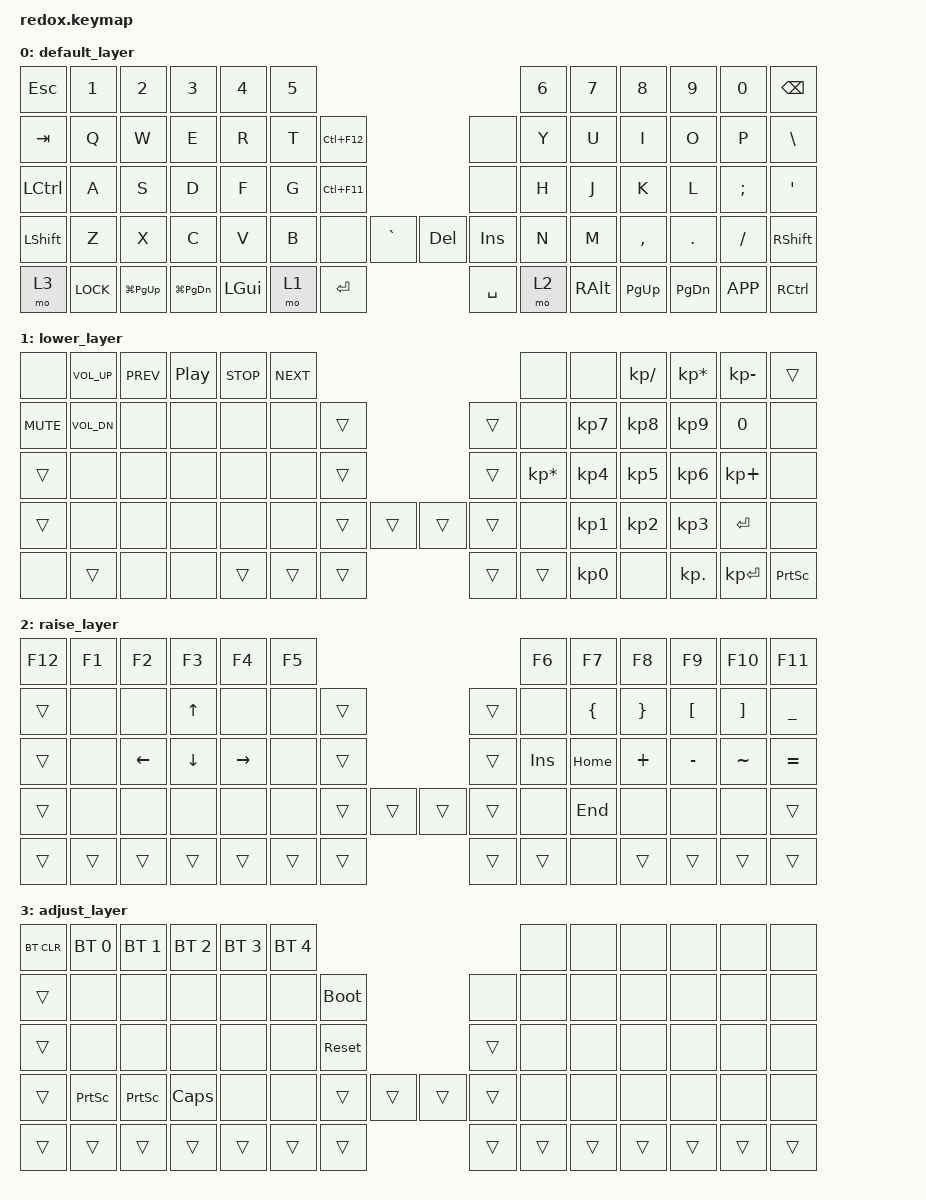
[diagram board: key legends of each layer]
/*
 * Copyright (c) 2021 The ZMK Contributors
 *
 * SPDX-License-Identifier: MIT
 */

#include <behaviors.dtsi>
#include <dt-bindings/zmk/keys.h>
#include <dt-bindings/zmk/bt.h>
#include <dt-bindings/zmk/ext_power.h>
#include <dt-bindings/zmk/outputs.h>

#define DSKL LG(PG_UP) // Left desktop
#define DSKR LG(PG_DN) // Right desktop
#define CBP LC(F11) //Clipboard previous
#define CBN LC(F12) //Clipboard next
#define K_MLT KP_MULTIPLY
#define K_PLS KP_PLUS
#define K_MNS KP_MINUS
#define K_SLS KP_SLASH
#define K_AST KP_ASTERISK
#define K_ENT KP_ENTER
#define K_MUT K_MUTE
#define K_DOT KP_DOT
#define VOLD C_VOL_DN
#define VOLU C_VOL_UP
#define MSTP C_STOP
#define MNXT C_NEXT
#define MPRV C_PREV
#define BT_C BT_CLR
#define BT_0 BT_SEL 0
#define BT_1 BT_SEL 1
#define BT_2 BT_SEL 2
#define BT_3 BT_SEL 3
#define BT_4 BT_SEL 4
#define OT OUT_TOG
#define BOOT &bootloader
#define LOCK K_LOCK

/ {
    keymap {
        compatible =  "zmk,keymap" ;

        default_layer {
            bindings = <
//┌─────────┬─────────┬─────────┬─────────┬─────────┬─────────┐                                            ┌─────────┬─────────┬─────────┬─────────┬─────────┬─────────┐
   &kp ESC   &kp N1    &kp N2    &kp N3    &kp N4    &kp N5                                                 &kp N6    &kp N7    &kp N8    &kp N9    &kp N0    &kp BSPC
//├─────────┼─────────┼─────────┼─────────┼─────────┼─────────┼─────────┐                        ┌─────────┼─────────┼─────────┼─────────┼─────────┼─────────┼─────────┤
   &kp TAB   &kp Q     &kp W     &kp E     &kp R     &kp T     &kp CBN                            &none     &kp Y     &kp U     &kp I     &kp O     &kp P     &kp BSLH
//├─────────┼─────────┼─────────┼─────────┼─────────┼─────────┼─────────┤                        ├─────────┼─────────┼─────────┼─────────┼─────────┼─────────┼─────────┤
   &kp LCTRL &kp A     &kp S     &kp D     &kp F     &kp G     &kp CBP                            &none     &kp H     &kp J     &kp K     &kp L     &kp SEMI  &kp SQT
//├─────────┼─────────┼─────────┼─────────┼─────────┼─────────┼─────────┼─────────┐    ┌─────────┼─────────┼─────────┼─────────┼─────────┼─────────┼─────────┼─────────┤
   &kp LSHFT &kp Z     &kp X     &kp C     &kp V     &kp B     &none     &kp GRAVE      &kp DEL   &kp INS   &kp N     &kp M     &kp COMMA &kp DOT   &kp FSLH  &kp RSHFT
//├─────────┼─────────┼─────────┼─────────┼─────────┼─────────┼─────────┼─────────┤    ├─────────┼─────────┼─────────┼─────────┼─────────┼─────────┼─────────┼─────────┤
   &mo 3     &kp LOCK  &kp DSKL  &kp DSKR       &kp LGUI       &mo 1     &kp RET        &kp SPACE &mo 2         &kp RALT        &kp PG_UP &kp PG_DN &kp K_APP &kp RCTRL
//└─────────┴─────────┴─────────┴─────────┘    └─────────┘    └─────────┴─────────┘    └─────────┴─────────┘   └─────────┘     └─────────┴─────────┴─────────┴─────────┘
            >;

        };
        
        lower_layer {
            bindings = <
//┌─────────┬─────────┬─────────┬─────────┬─────────┬─────────┐                                            ┌─────────┬─────────┬─────────┬─────────┬─────────┬─────────┐
   &none     &kp VOLU  &kp MPRV  &kp C_PP  &kp MSTP  &kp MNXT                                               &none     &none     &kp K_SLS &kp K_AST &kp K_MNS &trans
//├─────────┼─────────┼─────────┼─────────┼─────────┼─────────┼─────────┐                        ┌─────────┼─────────┼─────────┼─────────┼─────────┼─────────┼─────────┤
   &kp K_MUT &kp VOLD  &none     &none     &none     &none     &trans                             &trans    &none     &kp KP_N7 &kp KP_N8 &kp KP_N9 &kp N0    &none
//├─────────┼─────────┼─────────┼─────────┼─────────┼─────────┼─────────┤                        ├─────────┼─────────┼─────────┼─────────┼─────────┼─────────┼─────────┤
   &trans    &none     &none     &none     &none     &none     &trans                             &trans    &kp K_MLT &kp KP_N4 &kp KP_N5 &kp KP_N6 &kp K_PLS &none
//├─────────┼─────────┼─────────┼─────────┼─────────┼─────────┼─────────┼─────────┐    ┌─────────┼─────────┼─────────┼─────────┼─────────┼─────────┼─────────┼─────────┤
   &trans    &none     &none     &none     &none     &none     &trans    &trans         &trans    &trans    &none     &kp KP_N1 &kp KP_N2 &kp KP_N3 &kp RET   &none
//├─────────┼─────────┼─────────┼─────────┼─────────┼─────────┼─────────┼─────────┤    ├─────────┼─────────┼─────────┼─────────┼─────────┼─────────┼─────────┼─────────┤
   &none     &trans    &none     &none          &trans         &trans    &trans         &trans    &trans        &kp KP_N0       &none     &kp K_DOT &kp K_ENT &kp PSCRN
//└─────────┴─────────┴─────────┴─────────┘    └─────────┘    └─────────┴─────────┘    └─────────┴─────────┘   └─────────┘     └─────────┴─────────┴─────────┴─────────┘
            >;
        };

        raise_layer {
            bindings = <
//┌─────────┬─────────┬─────────┬─────────┬─────────┬─────────┐                                            ┌─────────┬─────────┬─────────┬─────────┬─────────┬─────────┐
   &kp F12   &kp F1    &kp F2    &kp F3    &kp F4    &kp F5                                                 &kp F6    &kp F7    &kp F8    &kp F9    &kp F10   &kp F11
//├─────────┼─────────┼─────────┼─────────┼─────────┼─────────┼─────────┐                        ┌─────────┼─────────┼─────────┼─────────┼─────────┼─────────┼─────────┤
   &trans    &none     &none     &kp UP    &none     &none     &trans                             &trans    &none     &kp LBRC  &kp RBRC  &kp LBKT  &kp RBKT  &kp UNDER
//├─────────┼─────────┼─────────┼─────────┼─────────┼─────────┼─────────┤                        ├─────────┼─────────┼─────────┼─────────┼─────────┼─────────┼─────────┤
   &trans    &none     &kp LEFT  &kp DOWN  &kp RIGHT &none     &trans                             &trans    &kp INS   &kp HOME  &kp PLUS  &kp MINUS &kp TILDE &kp EQUAL
//├─────────┼─────────┼─────────┼─────────┼─────────┼─────────┼─────────┼─────────┐    ┌─────────┼─────────┼─────────┼─────────┼─────────┼─────────┼─────────┼─────────┤
   &trans    &none     &none     &none     &none     &none     &trans    &trans         &trans    &trans    &none     &kp END   &none     &none     &none     &trans
//├─────────┼─────────┼─────────┼─────────┼─────────┼─────────┼─────────┼─────────┤    ├─────────┼─────────┼─────────┼─────────┼─────────┼─────────┼─────────┼─────────┤
   &trans    &trans    &trans    &trans         &trans         &trans    &trans         &trans    &trans        &none           &trans    &trans    &trans    &trans
//└─────────┴─────────┴─────────┴─────────┘    └─────────┘    └─────────┴─────────┘    └─────────┴─────────┘   └─────────┘     └─────────┴─────────┴─────────┴─────────┘
            >;
        };
        
        adjust_layer {

                        bindings = <
//┌─────────┬─────────┬─────────┬─────────┬─────────┬─────────┐                                            ┌─────────┬─────────┬─────────┬─────────┬─────────┬─────────┐
   &bt BT_C  &bt BT_0  &bt BT_1  &bt BT_2  &bt BT_3  &bt BT_4                                               &none     &none     &none     &none     &none     &none     
//├─────────┼─────────┼─────────┼─────────┼─────────┼─────────┼─────────┐                        ┌─────────┼─────────┼─────────┼─────────┼─────────┼─────────┼─────────┤
   &trans    &none     &none     &none     &none     &none     BOOT                               &none     &none     &none     &none     &none     &none     &none    
//├─────────┼─────────┼─────────┼─────────┼─────────┼─────────┼─────────┤                        ├─────────┼─────────┼─────────┼─────────┼─────────┼─────────┼─────────┤
   &trans    &none     &none     &none     &none     &none     &sys_reset                         &trans    &none     &none     &none     &none     &none     &none    
//├─────────┼─────────┼─────────┼─────────┼─────────┼─────────┼─────────┼─────────┐    ┌─────────┼─────────┼─────────┼─────────┼─────────┼─────────┼─────────┼─────────┤
   &trans    &kp PSCRN &kp PSCRN &kp CLCK  &none     &none     &trans    &trans         &trans    &trans    &none     &none     &none     &none     &none     &none    
//├─────────┼─────────┼─────────┼─────────┼─────────┼─────────┼─────────┼─────────┤    ├─────────┼─────────┼─────────┼─────────┼─────────┼─────────┼─────────┼─────────┤
   &trans    &trans    &trans    &trans         &trans         &trans    &trans         &trans    &trans        &trans          &trans    &trans    &trans    &trans
//└─────────┴─────────┴─────────┴─────────┘    └─────────┘    └─────────┴─────────┘    └─────────┴─────────┘   └─────────┘     └─────────┴─────────┴─────────┴─────────┘
            >;
        };
    };
};
